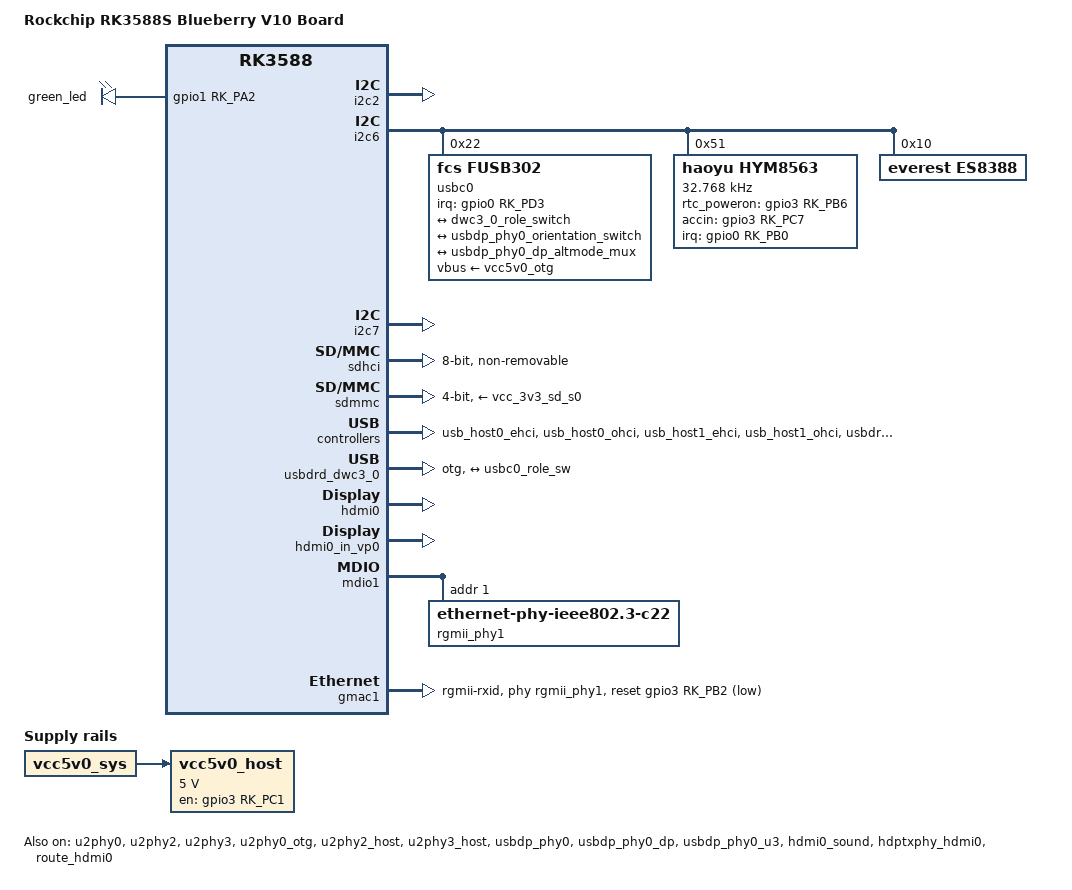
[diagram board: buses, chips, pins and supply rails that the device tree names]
// SPDX-License-Identifier: (GPL-2.0+ OR MIT)
/*
 * Copyright (c) 2021 Rockchip Electronics Co., Ltd.
 *
 */

#include "dt-bindings/usb/pd.h"
#include "rk3588s.dtsi"
#include "rk3588.dtsi"
#include "rk3588s-hugsun.dtsi"
#include "rk3588-rk806-single.dtsi"

/ {
	model = "Rockchip RK3588S Blueberry V10 Board";
	compatible = "rockchip,rk3588s-Blueberry-v10", "rockchip,rk3588";

	vcc5v0_host: vcc5v0-host {
		compatible = "regulator-fixed";
		regulator-name = "vcc5v0_host";
		regulator-boot-on;
		regulator-always-on;
		regulator-min-microvolt = <5000000>;
		regulator-max-microvolt = <5000000>;
		enable-active-high;
		gpio = <&gpio3 RK_PC1 GPIO_ACTIVE_HIGH>;
		vin-supply = <&vcc5v0_sys>;
		pinctrl-names = "default";
		pinctrl-0 = <&vcc5v0_host_en>;
	};

	sdio_pwrseq: sdio-pwrseq {
		compatible = "mmc-pwrseq-simple";
		clocks = <&hym8563>;
		clock-names = "ext_clock";
		//pinctrl-names = "default";
		//pinctrl-0 = <&wifi_enable_h>;
		/*
		 * On the module itself this is one of these (depending
		 * on the actual card populated):
		 * - SDIO_RESET_L_WL_REG_ON
		 * - PDN (power down when low)
		 */
		//post-power-on-delay-ms = <200>;
		//reset-gpios = <&gpio3 RK_PA7 GPIO_ACTIVE_LOW>;
	};

	wireless_bluetooth: wireless-bluetooth {
		compatible = "bluetooth-platdata";
		clocks = <&hym8563>;
		clock-names = "ext_clock";
		uart_rts_gpios = <&gpio3 RK_PD2 GPIO_ACTIVE_LOW>;
		pinctrl-names = "default";
		pinctrl-0 = <&uart9m2_rtsn>;
		//BT,reset_gpio    = <&gpio1 RK_PB2 GPIO_ACTIVE_HIGH>;
		//BT,wake_gpio     = <&gpio1 RK_PA4 GPIO_ACTIVE_HIGH>;
		//BT,wake_host_irq = <&gpio1 RK_PB0 GPIO_ACTIVE_HIGH>;
		status = "disabled";
	};

	wireless_wlan: wireless-wlan {
		compatible = "wlan-platdata";
		wifi_chip_type = "ap6275p";
		pinctrl-names = "default";
		//pinctrl-0 = <&wifi_host_wake_irq>, <&wifi_poweren_gpio>;
		//WIFI,host_wake_irq = <&gpio1 RK_PA7 GPIO_ACTIVE_HIGH>;
		//WIFI,poweren_gpio = <&gpio1 RK_PB1 GPIO_ACTIVE_HIGH>;
		status = "disabled";
	};

	leds: leds {
		compatible = "gpio-leds";
		green_led: green-led {
			gpios = <&gpio1 RK_PA2 GPIO_ACTIVE_HIGH>;
			linux,default-trigger = "heartbeat";
			default-state = "on";
			status = "okay";
		};
	};

};


&i2c2 {
		pinctrl-names = "default";
		pinctrl-0 = <&i2c2m0_xfer>;
		status = "okay";

	ov13855: ov13855@10 {
		compatible = "ovti,ov13855";
		status = "disabled";
		reg = <0x10>;
		clocks = <&cru CLK_MIPI_CAMARAOUT_M2>;
		clock-names = "xvclk";
		power-domains = <&power RK3588_PD_VI>;
		pinctrl-names = "default";
		pinctrl-0 = <&mipim1_camera2_clk>;
		rockchip,grf = <&sys_grf>;
		reset-gpios = <&gpio3 RK_PC5 GPIO_ACTIVE_HIGH>;
		pwdn-gpios = <&gpio3 RK_PD5 GPIO_ACTIVE_HIGH>;
		rockchip,camera-module-index = <1>;
		rockchip,camera-module-facing = "front";
		rockchip,camera-module-name = "CMK-OT2016-FV1";
		rockchip,camera-module-lens-name = "default";
	};

};	

&i2c6 {
	status = "okay";
	pinctrl-names = "default";
	pinctrl-0 = <&i2c6m3_xfer>;
	usbc0: fusb302@22 {
		compatible = "fcs,fusb302";
		reg = <0x22>;
		interrupt-parent = <&gpio0>;
		interrupts = <RK_PD3 IRQ_TYPE_LEVEL_LOW>;
		pinctrl-names = "default";
		pinctrl-0 = <&usbc0_int>;
		vbus-supply = <&vcc5v0_otg>;
		status = "okay";

		ports {
			#address-cells = <1>;
			#size-cells = <0>;

			port@0 {
				reg = <0>;
				usbc0_role_sw: endpoint@0 {
					remote-endpoint = <&dwc3_0_role_switch>;
				};
			};
		};

		usb_con: connector {
			compatible = "usb-c-connector";
			label = "USB-C";
			data-role = "dual";
			power-role = "dual";
			try-power-role = "sink";
			op-sink-microwatt = <1000000>;
			sink-pdos =
				<PDO_FIXED(5000, 1000, PDO_FIXED_USB_COMM)>;
			source-pdos =
				<PDO_FIXED(5000, 3000, PDO_FIXED_USB_COMM)>;

			altmodes {
				#address-cells = <1>;
				#size-cells = <0>;

				altmode@0 {
					reg = <0>;
					svid = <0xff01>;
					vdo = <0xffffffff>;
				};
			};

			ports {
				#address-cells = <1>;
				#size-cells = <0>;

				port@0 {
					reg = <0>;
					usbc0_orien_sw: endpoint {
						remote-endpoint = <&usbdp_phy0_orientation_switch>;
					};
				};

				port@1 {
					reg = <1>;
					dp_altmode_mux: endpoint {
						remote-endpoint = <&usbdp_phy0_dp_altmode_mux>;
					};
				};
			};
		};
	};
	hym8563: hym8563@51 {
		compatible = "haoyu,hym8563";
		reg = <0x51>;
		#clock-cells = <0>;
		clock-frequency = <32768>;
		clock-output-names = "hym8563";
		pinctrl-names = "default";
		pinctrl-0 = <&rtc_int>;

		interrupt-parent = <&gpio0>;
		interrupts = <RK_PB0 IRQ_TYPE_LEVEL_LOW>;
		rtc_poweron-gpios = <&gpio3 RK_PB6 GPIO_ACTIVE_HIGH>;  
		accin-gpios = <&gpio3 RK_PC7 GPIO_ACTIVE_HIGH>; 
		wakeup-source;
	};

	es8388: es8388@10 {
		status = "okay";
		#sound-dai-cells = <0>;
		compatible = "everest,es8388", "everest,es8323";
		reg = <0x10>;
		clocks = <&mclkout_i2s1>;
		clock-names = "mclk";
		assigned-clocks = <&mclkout_i2s1>;
		assigned-clock-rates = <12288000>;
		pinctrl-names = "default";
		pinctrl-0 = <&i2s1m0_mclk>;
	};

};

&i2c7 {
	status = "okay";
	pinctrl-names = "default";
	pinctrl-0 = <&i2c7m0_xfer>;
	gt9xx: gt9xx@14 {      
        status = "disabled";
        compatible = "goodix,gt9xx";
         reg = <0x14>;
        pinctrl-names = "default";
        pinctrl-0 = <&tp_gpio>;
        touch-gpio = <&gpio0 RK_PD3 IRQ_TYPE_LEVEL_HIGH>;
        reset-gpio = <&gpio0 RK_PC6 GPIO_ACTIVE_HIGH>;
        max-x = <1200>;
        max-y = <1920>;
        tp-size = <89>; 
        //tp-supply = <&vcc_lcd_mipi1>;

        configfile-num = <1>;   
    };

	gt9147:gt9147@14 {
		compatible = "goodix,gt9147", "goodix,gt9xx";
		status = "disabled";
 	};

	ov13855_1: ov13855_1@10 {
		compatible = "ovti,ov13855";
		status = "disabled";
	};
	ov13855_2: ov13855_2@36 {
		compatible = "ovti,ov13855";
		status = "disabled";
	};

};


// &uart9 {
// 	pinctrl-names = "default";
// 	pinctrl-0 = <&uart9m2_xfer &uart9m2_ctsn>;
// 	status = "okay";
// };

&sdhci {
	bus-width = <8>;
	no-sdio;
	no-sd;
	non-removable;
	max-frequency = <200000000>;
	mmc-hs400-1_8v;
	mmc-hs400-enhanced-strobe;
	status = "okay";
};

&sdmmc {
	bus-width = <4>;
	cap-mmc-highspeed;
	cap-sd-highspeed;
	disable-wp;
	max-frequency = <150000000>;
	pinctrl-names = "default";
	pinctrl-0 = <&sdmmc_clk &sdmmc_cmd &sdmmc_det &sdmmc_bus4>;
	rockchip,default-sample-phase = <90>;
	supports-sd;
	sd-uhs-sdr12;
	sd-uhs-sdr25;
	sd-uhs-sdr50;
	sd-uhs-sdr104;
	vmmc-supply = <&vcc_3v3_sd_s0>;
	vqmmc-supply = <&vccio_sd_s0>;
	status = "okay";
};

&pinctrl {
	hym8563 {
		rtc_int: rtc-int {
			rockchip,pins = <0 RK_PB0 RK_FUNC_GPIO &pcfg_pull_up>;
		};
	};

	vga {
		vga_hpdin_l: vga-hpdin-l {
			rockchip,pins = <0 RK_PC7 RK_FUNC_GPIO &pcfg_pull_none>;
		};
	};

	sdio-pwrseq {
		wifi_enable_h: wifi-enable-h {
			rockchip,pins = <3 RK_PA7 RK_FUNC_GPIO &pcfg_pull_up>;
		};
	};

	usb {
		vcc5v0_host_en: vcc5v0-host-en {
			rockchip,pins = <3 RK_PC1 RK_FUNC_GPIO &pcfg_pull_none>;
		};
	};

	wireless-bluetooth {
		uart9_gpios: uart9-gpios {
			rockchip,pins = <3 RK_PD2 RK_FUNC_GPIO &pcfg_pull_none>;
		};
	};

	wireless-gps {
		gps_enable: gps-enable {
			rockchip,pins = <3 RK_PC3 RK_FUNC_GPIO &pcfg_pull_up>;
		};
	};

	tp2912 {
		tp7912_int: tp7912-int {
			rockchip,pins = <1 RK_PA4 RK_FUNC_GPIO &pcfg_pull_up>;
		};
	};
	headphone {
		hp_det: hp-det {
			rockchip,pins = <1 RK_PD5 RK_FUNC_GPIO &pcfg_pull_none>;
		};
	};
	sdmmc {
		sd_s0_pwr: sd-s0-pwr {
			rockchip,pins = <4 RK_PB5 RK_FUNC_GPIO &pcfg_pull_none>;
		};
	};
	usb-typec {
		usbc0_int: usbc0-int {
			rockchip,pins = <0 RK_PD3 RK_FUNC_GPIO &pcfg_pull_up>;
		};

		vcc5v0_otg_en: vcc5v0-otg-en {
			rockchip,pins = <3 RK_PC0 RK_FUNC_GPIO &pcfg_pull_none>;
		};
	};
	tp {
		tp_gpio: tp-gpio {
			rockchip,pins =
				<1 RK_PB5 RK_FUNC_GPIO &pcfg_pull_up>,
				<1 RK_PB4 RK_FUNC_GPIO &pcfg_pull_up>;
		};
	};

	ov13855_pin {
		ov13855_pin: ov13855-pin {
			rockchip,pins =
				<1 RK_PA6 RK_FUNC_GPIO &pcfg_pull_up>,
				<3 RK_PC5 RK_FUNC_GPIO &pcfg_pull_up>;
		};
	};
};

&u2phy0 {
	status = "okay";
};

//usb2.0 host0
&u2phy2 {
	status = "okay";
};

//usb2.0 host1
&u2phy3 {
	status = "okay";
};

&u2phy0_otg {
	//rockchip,typec-vbus-det;
	//phy-supply = <&vcc5v0_host>;
	status = "okay";
};

&u2phy2_host {
	phy-supply = <&vcc5v0_host>;
	status = "okay";
};

&u2phy3_host {
	phy-supply = <&vcc5v0_host>;
	status = "okay";
};

&usb_host0_ehci {
	status = "okay";
};

&usb_host0_ohci {
	status = "okay";
};

&usb_host1_ehci {
	status = "okay";
};

&usb_host1_ohci {
	status = "okay";
};

&usbdp_phy0 {
	orientation-switch;
	svid = <0xff01>;
	sbu1-dc-gpios = <&gpio4 RK_PA5 GPIO_ACTIVE_HIGH>;
	sbu2-dc-gpios = <&gpio4 RK_PA7 GPIO_ACTIVE_HIGH>;
	status = "okay";

	port {
		#address-cells = <1>;
		#size-cells = <0>;
		usbdp_phy0_orientation_switch: endpoint@0 {
			reg = <0>;
			remote-endpoint = <&usbc0_orien_sw>;
		};

		usbdp_phy0_dp_altmode_mux: endpoint@1 {
			reg = <1>;
			remote-endpoint = <&dp_altmode_mux>;
		};
	};

};

&usbdp_phy0_dp {
	status = "okay";
};

&usbdp_phy0_u3 {
	status = "okay";
};

&usbdrd3_0 {
	status = "okay";
};

&usbdrd_dwc3_0 {
	dr_mode = "otg";
	usb-role-switch;
	status = "okay";
	port {
		#address-cells = <1>;
		#size-cells = <0>;
		dwc3_0_role_switch: endpoint@0 {
			reg = <0>;
			remote-endpoint = <&usbc0_role_sw>;
		};
	};
};

&hdmi0 {
	enable-gpios = <&gpio4 RK_PB6 GPIO_ACTIVE_HIGH>;
	cec-enable;
	status = "okay";
};

&hdmi0_in_vp0 {
	status = "okay";
};

&hdmi0_sound {
	status = "okay";
};

&hdptxphy_hdmi0 {
	status = "okay";
};

&route_hdmi0{
	status = "okay";
};


&mdio1 {
	rgmii_phy1: phy@1 {
		compatible = "ethernet-phy-ieee802.3-c22";
		reg = <0x1>;
	};
};
&gmac1 {
	/* Use rgmii-rxid mode to disable rx delay inside Soc */
	phy-mode = "rgmii-rxid";
	clock_in_out = "output";

	snps,reset-gpio = <&gpio3 RK_PB2 GPIO_ACTIVE_LOW>;
	snps,reset-active-low;
	/* Reset time is 20ms, 100ms for rtl8211f */
	snps,reset-delays-us = <0 20000 100000>;

	pinctrl-names = "default";
	pinctrl-0 = <&gmac1_miim
		     &gmac1_tx_bus2
		     &gmac1_rx_bus2
		     &gmac1_rgmii_clk
		     &gmac1_rgmii_bus>;

	tx_delay = <0x42>;
	/* rx_delay = <0x4f>; */

	phy-handle = <&rgmii_phy1>;
	status = "okay";
};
